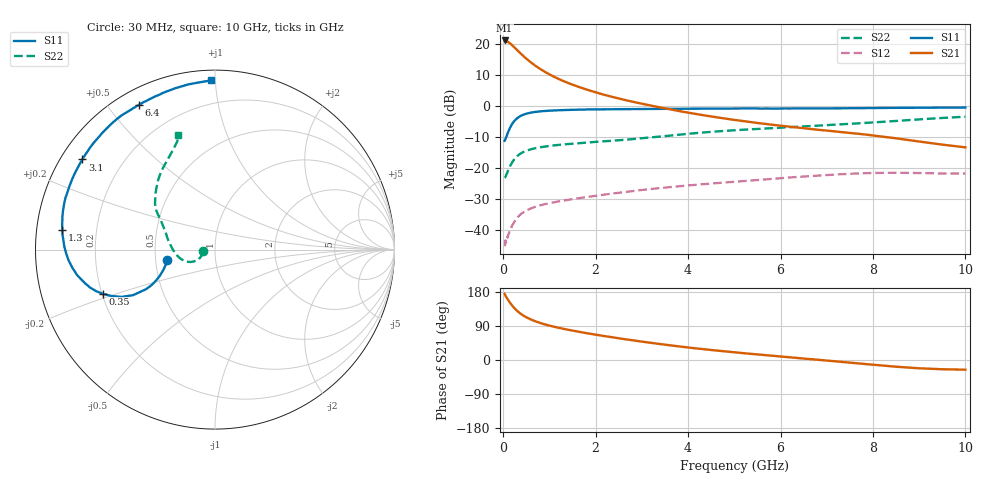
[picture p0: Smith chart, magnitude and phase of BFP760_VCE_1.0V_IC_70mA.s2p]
! Infineon Technologies  Discrete & RF Semiconductors
! BFP760
! VCE =  1.0 V,  IC =  70 mA
! Common Emitter S-Parameters:  Nov 2012
# GHz  S  MA  R  50
!  f  S11  S21  S12  S22
! GHz  MAG  ANG  MAG  ANG  MAG  ANG  MAG  ANG
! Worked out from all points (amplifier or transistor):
!   99 points, 30 MHz to 10 GHz, reference 50 ohm
!   highest |S21| = 21.2 dB at 30 MHz (marker M1)
!   |S21| within 3 dB of that: start of sweep to 294.4 MHz
!   unconditionally stable (mu >= 1): start of sweep to end of sweep
!   at 350 MHz: K = 2.25, MAG = 20.1 dB, |S12| = -35.4 dB
!   at 3.5 GHz: K = 2.22, MAG = 6.6 dB, |S12| = -26.4 dB
!   at 10 GHz: K = 2.27, MAG = -2.1 dB, |S12| = -21.9 dB
!   S11 on the Smith chart (normalised r, x): 30 MHz: 0.58, -0.07; 350 MHz: 0.20, -0.18; 1.3 GHz: 0.08, +0.06; 3.1 GHz: 0.06, +0.31; 6.4 GHz: 0.06, +0.60; 10 GHz: 0.06, +0.97
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0.03  0.2734 -167.4  11.47 174.3  0.0054 19.7  0.0691 -171.2
0.05  0.2949 -161.4  11.4 169.5  0.0067 29.8  0.0721 -164.7
0.08  0.3362 -155.0  11.13 163.5  0.0068 36.3  0.0804 -156.8
0.11  0.3837 -151.6  10.8 157.7  0.0083 42.5  0.0919 -152.3
0.15  0.4487 -150.2  10.26 150.6  0.0099 45.5  0.1069 -149.7
0.2  0.5216 -150.9  9.507 142.6  0.0119 46.3  0.125 -149.8
0.25  0.5826 -153.1  8.755 135.7  0.0137 46.5  0.1405 -151.5
0.35  0.6717 -158.5  7.389 124.6  0.017 44.7  0.1651 -155.6
0.4  0.7041 -160.9  6.805 120.1  0.0183 43.5  0.1743 -157.8
0.5  0.7488 -165.6  5.823 112.7  0.0204 42.1  0.1888 -162.0
0.7  0.802 -172.9  4.453 101.9  0.0235 39.0  0.2078 -168.9
0.9  0.8296 -178.6  3.569 94.0  0.0258 37.5  0.2203 -174.2
1.3  0.8577 172.6  2.533 82.4  0.0294 37.1  0.2385 178.4
1.7  0.8741 165.6  1.956 73.1  0.0328 37.6  0.2518 172.8
2.3  0.8844 156.7  1.44 61.1  0.0378 37.9  0.2717 166.6
3.1  0.894 145.8  1.049 46.9  0.0446 37.9  0.3056 157.8
3.4  0.8966 142.1  0.945 42.0  0.0471 37.4  0.3206 155.1
5.1  0.9099 126.3  0.582 19.2  0.0602 33.7  0.4089 144.3
6.4  0.9106 117.8  0.445 4.9  0.0714 29.2  0.4627 135.3
6.7  0.9129 115.6  0.421 1.8  0.074 27.6  0.476 133.2
8.5  0.9322 99.3  0.3 -17.7  0.0832 14.9  0.5721 116.9
10  0.9436 91.4  0.214 -25.5  0.0808 9.7  0.6706 107.8
